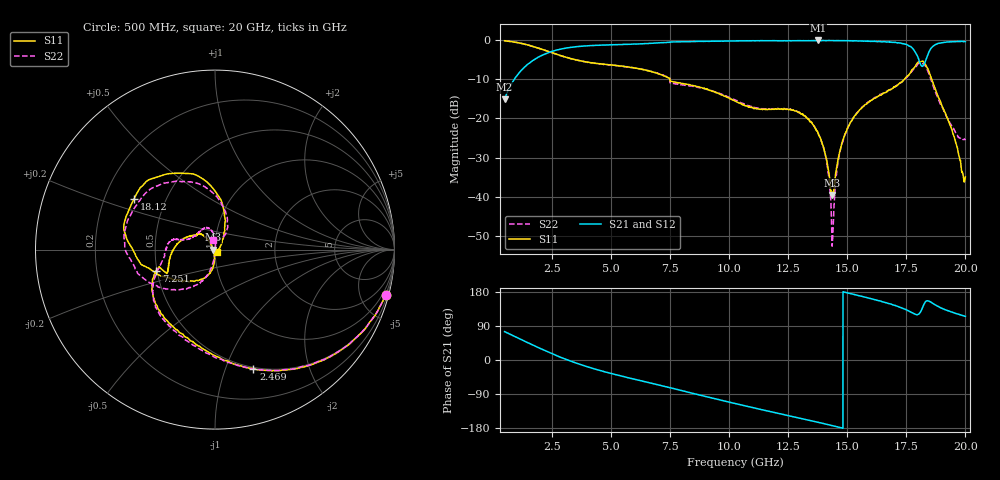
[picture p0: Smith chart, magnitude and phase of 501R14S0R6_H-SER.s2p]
!{501R14S0R6}
!Johanson Technology Inc.
!www.johansontechnology.com
!Test Board Conditions:
!Substrate Type  RO4350B
!Substrate Thickness  20 mil
!Substrate Dk  3.66
!TL Type: GCPW
!TL Trace Width  36 mil
!TL Gap  12 mil
!Electrode orientation  Horizontal
!DUT TOPOLOGY	SERIES
!Mounting Pad LxW  26x36 mil
! Created Mon Mar 16 16:44:24 2020
# mhz S ma R 50
! 2 Port Network Data from SP1.SP block
! freq  magS11  angS11  magS21  angS21  magS12  angS12  magS22  angS22
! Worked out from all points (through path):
!   19501 points, 500 MHz to 20 GHz, reference 50 ohm
!   highest |S21| = -0.07 dB at 13.76 GHz (marker M1); lowest = -15.1 dB at 500 MHz (marker M2)
!   lowest |S11| = -39.6 dB at 14.35 GHz (marker M3), VSWR 1.02, Z = 49 - j0.00156 ohm
!   |S11| at or under -10 dB: 7.495 GHz to 17.42 GHz (9.924 GHz wide, 79.7 % of centre); 18.57 GHz to end of sweep
!   |S22| runs from -52.7 to -0.1 dB; largest |S21 - S12| = 0.016
!   S11 on the Smith chart (normalised r, x): 500 MHz: 0.49, -7.60; 2.469 GHz: 0.49, -1.25; 7.251 GHz: 0.49, -0.13; 18.12 GHz: 0.33, +0.26; 20 GHz: 1.02, -0.03
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500  0.9836 -14.9  0.1764 74.9  0.1764 74.8  0.9834 -14.9
1507  0.8659 -45.1  0.4996 45.2  0.499 44.9  0.8659 -44.7
2469  0.697 -72.1  0.7146 17.6  0.713 17.6  0.6984 -72.3
3750  0.5419 -100.6  0.8369 -12.7  0.8379 -12.9  0.5402 -104.3
7000  0.3717 -156.3  0.9215 -65.6  0.9217 -65.7  0.3758 -154.0
7251  0.3491 -159.9  0.9328 -69.4  0.9307 -69.4  0.3529 -157.9
10250  0.1668 154.5  0.9771 -114.7  0.9771 -114.8  0.1724 161.4
13500  0.08819 128.0  0.9864 -160.6  0.9873 -160.7  0.08797 96.0
13758  0.06592 125.3  0.9922 -164.3  0.9864 -164.3  0.06646 92.8
14124  0.03031 130.6  0.99 -169.6  0.9892 -169.7  0.02835 84.9
14348  0.01051 -179.9  0.9875 -173.0  0.9904 -173.0  0.003247 51.4
14423  0.01156 -132.1  0.99 -174.1  0.9886 -174.1  0.005854 -80.8
14542  0.02275 -102.6  0.9891 -175.8  0.9898 -175.9  0.01904 -88.0
14663  0.03543 -96.1  0.9879 -177.6  0.9874 -177.7  0.03379 -92.9
15046  0.07927 -93.9  0.9852 176.5  0.9836 176.5  0.0785 -98.6
16750  0.2302 -128.5  0.9485 148.8  0.9516 148.9  0.2293 -119.1
17706  0.4016 -166.6  0.8218 125.7  0.8206 126.0  0.3885 -149.4
18121  0.5325 147.8  0.4783 129.2  0.4767 128.6  0.513 161.2
18357  0.4598 112.4  0.5913 155.8  0.5877 155.6  0.4379 119.5
18689  0.2553 80.6  0.8601 146.6  0.8616 146.3  0.2332 77.4
19637  0.0444 37.5  0.9605 122.0  0.9583 122.0  0.06187 67.2
20000  0.01786 -54.7  0.9605 115.1  0.9638 115.2  0.05483 102.5
